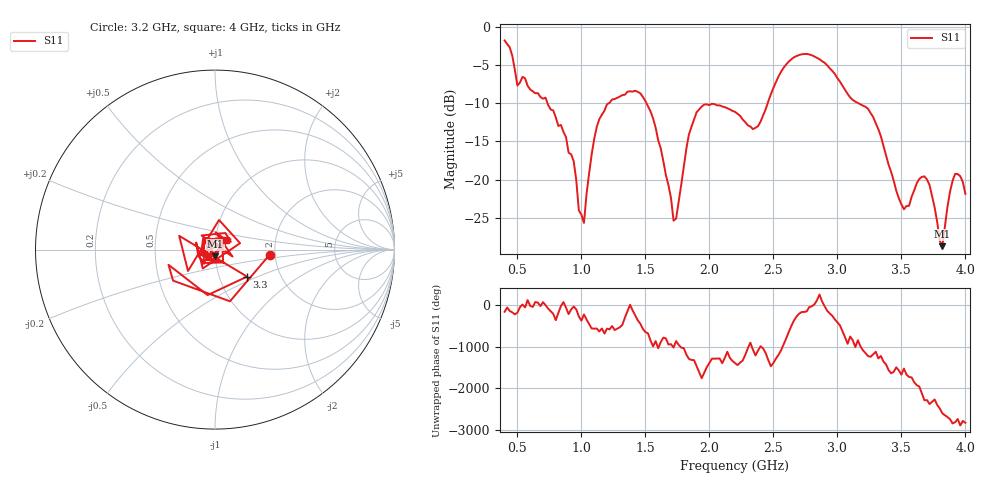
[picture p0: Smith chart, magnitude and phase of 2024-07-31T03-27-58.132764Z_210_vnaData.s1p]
!Created with skrf (http://scikit-rf.org).
# Hz S RI R 50.0
!freq ReS11 ImS11
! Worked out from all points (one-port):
!   181 points, 400 MHz to 4 GHz, reference 50 ohm
!   lowest |S11| = -28.7 dB at 3.82 GHz (marker M1), VSWR 1.08, Z = 50.1 - j3.66 ohm
!   |S11| at or under -10 dB: 735.4 MHz to 1.213 GHz (478 MHz wide, 49.1 % of centre); 1.509 GHz to 2.455 GHz (946.2 MHz wide, 47.7 % of centre); 3.164 GHz to end of sweep
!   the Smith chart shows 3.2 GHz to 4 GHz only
!   S11 on the Smith chart (normalised r, x): 3.2 GHz: 1.87, -0.12; 3.3 GHz: 1.36, -0.43; 4 GHz: 1.12, +0.12
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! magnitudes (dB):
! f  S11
! 400 MHz  -1.8
! 500 MHz  -7.7
! 720 MHz  -9.3
! 860 MHz  -13.7
! 940 MHz  -17.6
! 980 MHz  -24.0
! 1.02 GHz  -25.7
! 1.12 GHz  -13.1
! 1.3 GHz  -9.1
! 1.5 GHz  -9.7
! 1.62 GHz  -15.9
! 1.72 GHz  -25.4
! 1.76 GHz  -22.9
! 1.84 GHz  -14.1
! 1.9 GHz  -11.2
! 2.2 GHz  -11.1
! 2.38 GHz  -13.0
! 2.66 GHz  -4.0
! 2.9 GHz  -4.7
! 3.1 GHz  -9.2
! 3.2 GHz  -10.3
! 3.3 GHz  -12.6
! 3.48 GHz  -22.4
! 3.56 GHz  -23.4
! 3.68 GHz  -19.6
! 3.82 GHz  -28.7
! 3.92 GHz  -19.2
! 4 GHz  -21.9
